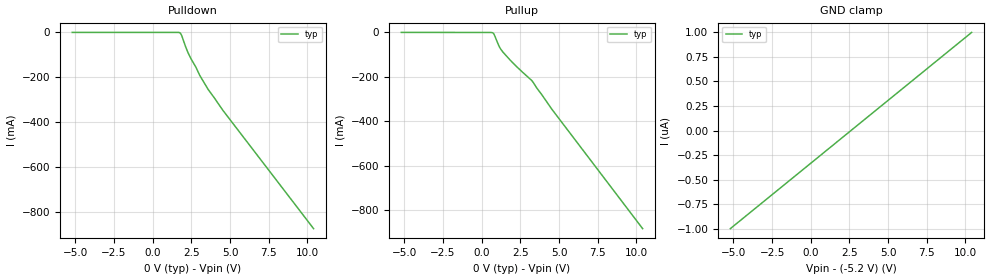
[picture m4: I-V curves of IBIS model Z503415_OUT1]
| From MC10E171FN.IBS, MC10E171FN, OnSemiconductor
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| (C) COPYRIGHT 1993-2000
| MENTOR GRAPHICS CORPORATION
| ICX STANDARD LIBRARY, ICX PROJECT MODELING,
| ICX CUSTOM MODELING, ICX VENDOR MODEL
| ALL RIGHTS RESERVED.
| THE FOLLOWING ARE TRADEMARKS OR SERVICE MARKS OF
| MENTOR GRAPHICS CORPORATION:ICX (R), ICX STANDARD
| LIBRARY(R), ICX PROJECT MODELING(R), ICX CUSTOM
| MODELING(R), qualityIBIS(TM), MODELVIEWER(TM),
| AND MODELEDITOR(TM)
| ALL COPIES OF SOFTWARE, INCLUDING BUT NOT LIMITED TO
| ANY MODIFICATIONS, ENHANCEMENTS OR DERIVATIVE WORKS,
| MUST CONTAIN ALL MENTOR GRAPHICS CORPORATION'S
| NOTICES AND LEGENDS, INCLUDING THOSE EMBEDDED IN
| SOFTWARE AND THOSE AFFIXED TO SOFTWARE MEDIUM
| AND CONTAINER, AS RECEIVED FROM MENTOR GRAPHICS
| CORPORATION.
| Model Application Version 1.89 2/18/99.
[Model] Z503415_OUT1
Model_type Output_ECL
Vref=-2.000V
Rref=50.00ohms
Cref=0.000F
Vmeas=-1.305V
C_comp 8.000pF NA NA
| variable typ   min   max
[Voltage Range] -5.200V NA NA
[POWER Clamp Reference] 0.000V NA NA
[Pullup Reference] 0.000V NA NA
[Pulldown Reference] 0.000V NA NA
[GND Clamp Reference] -5.200V NA NA
[GND Clamp]
-5.2V     -1uA       NA         NA
10.4V     1uA        NA         NA
[Pulldown]
-5.2V     116.1uA    NA         NA
1.626V    94.65uA    NA         NA
1.782V    -2.643mA   NA         NA
1.87V     -12.91mA   NA         NA
2.281V    -89.91mA   NA         NA
2.472V    -116.8mA   NA         NA
2.793V    -154.9mA   NA         NA
3.032V    -190.2mA   NA         NA
3.582V    -253.8mA   NA         NA
4.536V    -347.1mA   NA         NA
10.4V     -874.5mA   NA         NA
[Pullup]
-5.2V     412uA      NA         NA
727.5mV   -1.959mA   NA         NA
815.4mV   -10.81mA   NA         NA
1.119V    -62mA      NA         NA
1.368V    -88.1mA    NA         NA
2.236V    -152.5mA   NA         NA
3.228V    -216.1mA   NA         NA
4.537V    -346.3mA   NA         NA
10.4V     -884.3mA   NA         NA
[POWER Clamp]
-5.2V     0A         NA         NA
10.4V     0A         NA         NA
[Ramp]
| variable typ min max
dV/dt_r 592.1m/295.6p NA NA
dV/dt_f 592.1m/346.8p NA NA
R_load = 500.0Ohms
